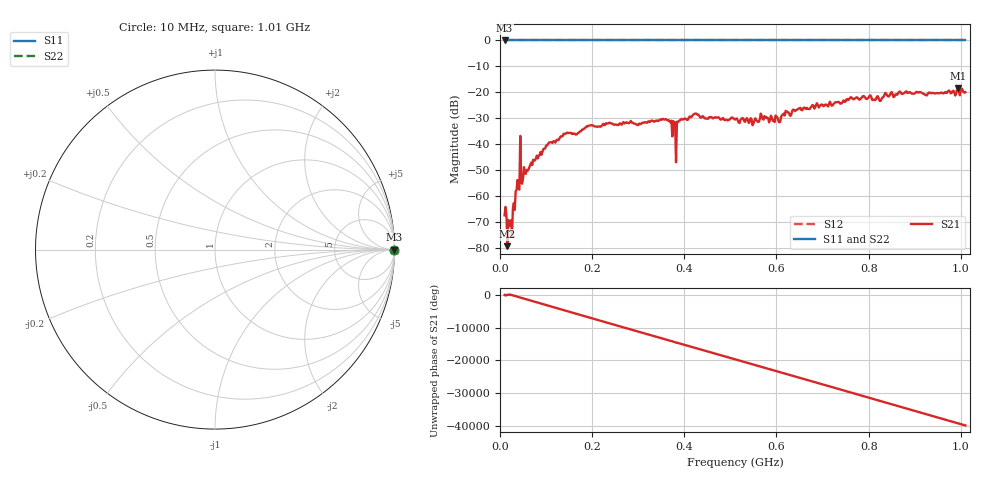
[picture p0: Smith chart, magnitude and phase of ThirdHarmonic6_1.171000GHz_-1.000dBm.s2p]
! 8/16/2025 11:51:41 AM
! C:\ANRITSUVNA\TEMP\TEMP.S2P
! CHANNEL.1
! TR.MEASUREMENT
! RAW.DATA
! RF.CORRECTION.OFF
! AVERAGING.OFF
! IF.BANDWIDTH: 5KHZ
! SWEEPTYPE:  FREQ.SWEEP(Linear)
! Reference Plane Port Info
! PORT:  PORT1  PORT2
! DISTANCE:  0  m  0  m
! TIME:  0  s  0  s
! PHASE.OFFSET:  0  deg.  0  deg.
! LOSS:  0  dB  0  dB
! REF.LOSS:  0  dB  0  dB
! REF.FREQ:  0  Hz  0  Hz
! Power Info
! POWER:  -20  dBm  -20  dBm
! EFF.POWER:  -20  dBm  -20  dBm
! SOURCE.ATTEN:  0  dB  0  dB
! TEST.ATTEN:  0  dB  0  dB
# GHZ S RI R 50.0
! FREQ.GHZ  S11RE  S11IM  S21RE  S21IM  S12RE  S12IM  S22RE  S22IM
!; PortSelection: Port_12
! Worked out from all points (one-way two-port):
!   501 points, 10 MHz to 1.01 GHz, reference 50 ohm
!   highest |S21| = -18.26 dB at 994 MHz (marker M1); lowest = -79.2 dB at 16 MHz (marker M2)
!   lowest |S11| = 0.0 dB at 10 MHz (marker M3)
!   |S11| at or under -10 dB: nowhere
!   |S22| runs from 0.0 to 0.0 dB; largest |S21 - S12| = 1.1
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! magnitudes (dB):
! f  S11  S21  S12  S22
! 10 MHz  0.0  -67.3  0.0  0.0
! 16 MHz  0.0  -79.2  0.0  0.0
! 24 MHz  0.0  -69.2  0.0  0.0
! 38 MHz  0.0  -53.7  0.0  0.0
! 40 MHz  0.0  -56.8  0.0  0.0
! 48 MHz  0.0  -55.1  0.0  0.0
! 50 MHz  0.0  -53.0  0.0  0.0
! 108 MHz  0.0  -39.2  0.0  0.0
! 178 MHz  0.0  -34.3  0.0  0.0
! 344 MHz  0.0  -30.9  0.0  0.0
! 368 MHz  0.0  -31.1  0.0  0.0
! 376 MHz  0.0  -31.1  0.0  0.0
! 378 MHz  0.0  -31.5  0.0  0.0
! 386 MHz  0.0  -31.5  0.0  0.0
! 388 MHz  0.0  -31.0  0.0  0.0
! 422 MHz  0.0  -28.3  0.0  0.0
! 510 MHz  0.0  -30.5  0.0  0.0
! 606 MHz  0.0  -31.5  0.0  0.0
! 678 MHz  0.0  -24.9  0.0  0.0
! 844 MHz  0.0  -21.6  0.0  0.0
! 994 MHz  0.0  -18.3  0.0  0.0
! 1.01 GHz  0.0  -19.9  0.0  0.0
